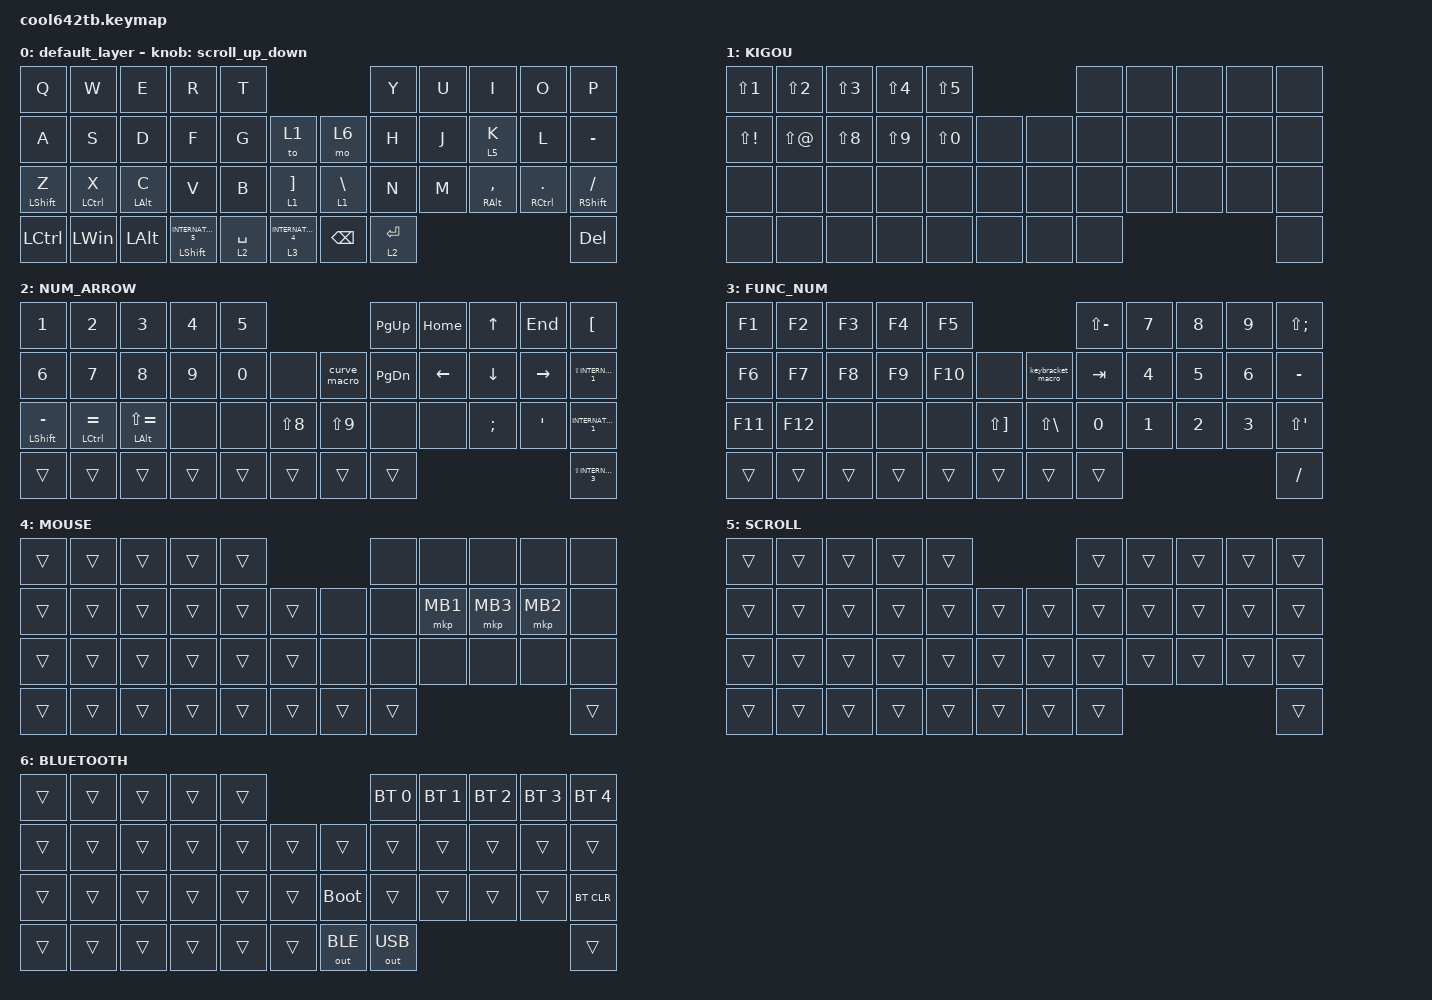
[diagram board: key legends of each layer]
#include <behaviors.dtsi>
#include <dt-bindings/zmk/bt.h>
#include <dt-bindings/zmk/keys.h>
#include <dt-bindings/zmk/outputs.h>
#include <dt-bindings/zmk/pointing.h>

#define MOUSE 4
#define SCROLL 5
#define NUM 6
#define ZMK_POINTING_DEFAULT_SCRL_VAL 100

&mt {
    flavor = "balanced";
    quick-tap-ms = <0>;
};

/ {
    combos {
        compatible = "zmk,combos";

        tab {
            bindings = <&kp TAB>;
            key-positions = <0 1>;
        };

        esc {
            bindings = <&kp LS(ESCAPE)>;
            key-positions = <0 1 2>;
        };

        del {
            bindings = <&kp DELETE>;
            key-positions = <9 8>;
        };

        mouseL {
            bindings = <&mkp MB1>;
            key-positions = <18 19>;
        };

        mouseR {
            bindings = <&mkp MB2>;
            key-positions = <19 20>;
        };

        mouseM {
            bindings = <&mkp MB3>;
            key-positions = <18 20>;
        };

        curveL {
            bindings = <&kp LS(N8)>;
            key-positions = <4 14>;
        };

        curveR {
            bindings = <&kp LS(N9)>;
            key-positions = <5 17>;
        };

        dclick1 {
            bindings = <&dclick>;
            key-positions = <18 19 20>;
        };

        dclick2 {
            bindings = <&dclick>;
            key-positions = <6 18>;
        };

        back {
            bindings = <&mkp MB4>;
            key-positions = <17 18>;
        };

        forward {
            bindings = <&mkp MB5>;
            key-positions = <5 6>;
        };

        L_Shift {
            bindings = <&mt LEFT_SHIFT LEFT_SHIFT>;
            key-positions = <39 38>;
        };

        R_Shift {
            bindings = <&mt RIGHT_SHIFT RIGHT_SHIFT>;
            key-positions = <40 41>;
        };
    };

    macros {
        to_layer_0: to_layer_0 {
            compatible = "zmk,behavior-macro-one-param";
            #binding-cells = <1>;
            bindings = <&to 0 &macro_param_1to1 &kp MACRO_PLACEHOLDER>;
            label = "TO_LAYER_0";
        };

        dclick: dclick {
            compatible = "zmk,behavior-macro";
            #binding-cells = <0>;
            bindings = <&mkp LCLK &mkp LCLK>;
            label = "DCLICK";
        };

        curve_macro: curve_macro {
            compatible = "zmk,behavior-macro";
            #binding-cells = <0>;
            bindings = <&kp INTERNATIONAL_5 &kp LS(N8) &kp LS(N9) &kp LEFT_ARROW>;
            label = "CURVE_MACRO";
        };

        keybracket_macro: keybracket_macro {
            compatible = "zmk,behavior-macro";
            #binding-cells = <0>;
            bindings = <&kp INTERNATIONAL_4 &kp RIGHT_BRACKET &kp BACKSLASH &kp ENTER &kp LEFT_ARROW>;
            label = "KEYBRACKET_MACRO";
        };
    };

    behaviors {
        lt_to_layer_0: lt_to_layer_0 {
            compatible = "zmk,behavior-hold-tap";
            label = "LAYER_TAP_TO_0";
            bindings = <&mo>, <&to_layer_0>;

            #binding-cells = <2>;
            tapping-term-ms = <200>;
        };

        scroll_up_down: behavior_sensor_rotate_mouse_wheel_up_down {
            compatible = "zmk,behavior-sensor-rotate";
            #sensor-binding-cells = <0>;
            bindings = <&msc SCRL_DOWN>, <&msc SCRL_UP>;

            // 追加: スクロールのタップ時間を設定 (20ms)

            tap-ms = <20>;
        };
    };

    keymap {
        compatible = "zmk,keymap";

        default_layer {
            bindings = <
&kp Q             &kp W         &kp E           &kp R                           &kp T                                                &kp Y        &kp U  &kp I                &kp O             &kp P
&kp A             &kp S         &kp D           &kp F                           &kp G        &to 1                  &mo 6            &kp H        &kp J  &lt 5 K              &kp L             &kp MINUS
&mt LEFT_SHIFT Z  &mt LCTRL X   &mt LEFT_ALT C  &kp V                           &kp B        &lt 1 RIGHT_BRACKET    &lt 1 BACKSLASH  &kp N        &kp M  &mt RIGHT_ALT COMMA  &mt RCTRL PERIOD  &mt RIGHT_SHIFT SLASH
&kp LEFT_CONTROL  &kp LEFT_WIN  &kp LEFT_ALT    &mt LEFT_SHIFT INTERNATIONAL_5  &lt 2 SPACE  &lt 3 INTERNATIONAL_4  &kp BACKSPACE    &lt 2 ENTER                                                &kp DELETE
            >;

            sensor-bindings = <&scroll_up_down>;
        };

        KIGOU {
            bindings = <
&kp LS(N1)           &kp LS(N2)       &kp LS(N3)  &kp LS(N4)  &kp LS(N5)                &none  &none  &none  &none  &none
&kp LS(EXCLAMATION)  &kp LS(AT_SIGN)  &kp LS(N8)  &kp LS(N9)  &kp LS(N0)  &none  &none  &none  &none  &none  &none  &none
&none                &none            &none       &none       &none       &none  &none  &none  &none  &none  &none  &none
&none                &none            &none       &none       &none       &none  &none  &none                       &none
            >;
        };

        NUM_ARROW {
            bindings = <
&kp N1                &kp N2           &kp N3                  &kp N4  &kp N5                            &kp PAGE_UP    &kp HOME        &kp UP_ARROW    &kp END    &kp LEFT_BRACKET
&kp N6                &kp N7           &kp N8                  &kp N9  &kp N0  &none       &curve_macro  &kp PAGE_DOWN  &kp LEFT_ARROW  &kp DOWN_ARROW  &kp RIGHT  &kp LS(INTERNATIONAL_1)
&mt LEFT_SHIFT MINUS  &mt LCTRL EQUAL  &mt LEFT_ALT LS(EQUAL)  &none   &none   &kp LS(N8)  &kp LS(N9)    &none          &none           &kp SEMICOLON   &kp SQT    &kp INTERNATIONAL_1
&trans                &trans           &trans                  &trans  &trans  &trans      &trans        &trans                                                    &kp LS(INTERNATIONAL_3)
            >;
        };

        FUNC_NUM {
            bindings = <
&kp F1   &kp F2   &kp F3  &kp F4  &kp F5                                    &kp LS(MINUS)  &kp N7  &kp N8  &kp N9  &kp LS(SEMI)
&kp F6   &kp F7   &kp F8  &kp F9  &kp F10  &none         &keybracket_macro  &kp TAB        &kp N4  &kp N5  &kp N6  &kp MINUS
&kp F11  &kp F12  &none   &none   &none    &kp LS(RBKT)  &kp LS(BSLH)       &kp N0         &kp N1  &kp N2  &kp N3  &kp LS(APOS)
&trans   &trans   &trans  &trans  &trans   &trans        &trans             &trans                                 &kp FSLH
            >;
        };

        MOUSE {
            bindings = <
&trans  &trans  &trans  &trans  &trans                  &none   &none     &none     &none     &none
&trans  &trans  &trans  &trans  &trans  &trans  &none   &none   &mkp MB1  &mkp MB3  &mkp MB2  &none
&trans  &trans  &trans  &trans  &trans  &trans  &none   &none   &none     &none     &none     &none
&trans  &trans  &trans  &trans  &trans  &trans  &trans  &trans                                &trans
            >;
        };

        SCROLL {
            bindings = <
&trans  &trans  &trans  &trans  &trans                  &trans  &trans  &trans  &trans  &trans
&trans  &trans  &trans  &trans  &trans  &trans  &trans  &trans  &trans  &trans  &trans  &trans
&trans  &trans  &trans  &trans  &trans  &trans  &trans  &trans  &trans  &trans  &trans  &trans
&trans  &trans  &trans  &trans  &trans  &trans  &trans  &trans                          &trans
            >;
        };

        BLUETOOTH {
            bindings = <
&trans  &trans  &trans  &trans  &trans                        &bt BT_SEL 0  &bt BT_SEL 1  &bt BT_SEL 2  &bt BT_SEL 3  &bt BT_SEL 4
&trans  &trans  &trans  &trans  &trans  &trans  &trans        &trans        &trans        &trans        &trans        &trans
&trans  &trans  &trans  &trans  &trans  &trans  &bootloader   &trans        &trans        &trans        &trans        &bt BT_CLR
&trans  &trans  &trans  &trans  &trans  &trans  &out OUT_BLE  &out OUT_USB                                            &trans
            >;
        };
    };
};
